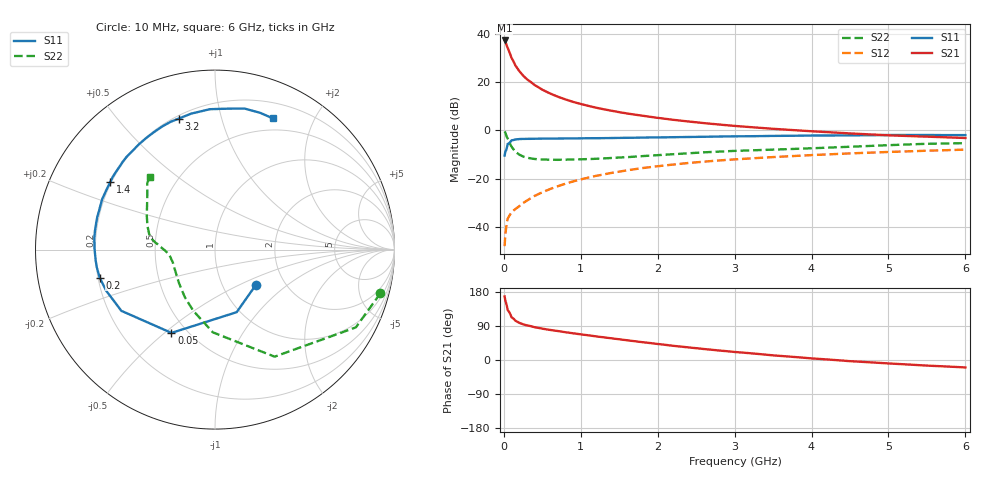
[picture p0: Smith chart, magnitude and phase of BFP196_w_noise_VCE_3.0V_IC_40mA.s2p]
! Infineon Technologies  Discrete & RF Semiconductors
! BFP196
! VCE =  3.0 V,  IC =  40 mA
! Common Emitter S-Parameters:  Jan 2017
# GHz  S  MA  R  50
!  f  S11  S21  S12  S22
! GHz  MAG  ANG  MAG  ANG  MAG  ANG  MAG  ANG
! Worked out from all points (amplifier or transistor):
!   77 points, 10 MHz to 6 GHz, reference 50 ohm
!   highest |S21| = 37.3 dB at 10 MHz (marker M1)
!   |S21| within 3 dB of that: start of sweep to 48.69 MHz
!   unconditionally stable (mu >= 1): 570.4 MHz to 2.507 GHz
!   at 130 MHz: K = 0.58, MSG = 30.7 dB, |S12| = -33.1 dB
!   at 2.2 GHz: K = 1.01, MAG = 8.6 dB, |S12| = -14.2 dB
!   at 6 GHz: K = 0.96, MSG = 2.4 dB, |S12| = -8.0 dB
!   lowest NFmin = 1.34 dB at 450 MHz
!   S11 on the Smith chart (normalised r, x): 10 MHz: 1.44, -0.62; 50 MHz: 0.41, -0.53; 200 MHz: 0.21, -0.12; 1.4 GHz: 0.20, +0.28; 3.2 GHz: 0.22, +0.74; 6 GHz: 0.36, +1.47
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0.01  0.3009 -40.6  72.9 167.6  0.004 80.8  0.9532 -14.8
0.02  0.369 -70.9  69.48 156.4  0.0072 71.9  0.8965 -28.9
0.05  0.5237 -117.6  50.99 131.8  0.0148 54.3  0.6826 -60.9
0.1  0.6234 -146.8  31.63 112.7  0.02 50.8  0.461 -91.5
0.15  0.6484 -159.4  22.18 103.8  0.0235 51.6  0.3623 -109.4
0.2  0.6612 -166.3  16.96 98.2  0.0269 54.5  0.3152 -122.0
0.25  0.6662 -171.6  13.68 94.2  0.0313 56.6  0.2878 -130.8
0.3  0.6676 -175.1  11.47 91.4  0.0351 59.0  0.2721 -138.0
0.4  0.6715 179.4  8.684 86.5  0.0439 62.1  0.2558 -147.5
0.5  0.6755 174.7  6.959 82.7  0.0522 64.4  0.2493 -154.2
0.6  0.677 171.1  5.827 79.4  0.0609 64.6  0.2475 -159.3
0.7  0.6782 167.8  4.999 76.5  0.0695 64.9  0.2455 -163.1
0.9  0.6813 161.4  3.897 70.5  0.0876 63.8  0.2497 -168.2
1.1  0.6888 155.6  3.216 65.1  0.1056 62.9  0.2548 -172.2
1.4  0.6945 147.1  2.555 57.2  0.1316 59.6  0.2684 -176.8
1.7  0.7046 139.0  2.123 49.6  0.1572 56.0  0.2859 179.9
2.1  0.7186 128.6  1.737 40.0  0.1885 50.5  0.314 175.7
3.1  0.7552 107.3  1.204 19.6  0.2564 37.1  0.3808 165.5
3.2  0.7575 105.4  1.171 17.9  0.2621 35.8  0.3852 164.2
4.1  0.7829 90.6  0.94 2.9  0.3128 24.9  0.4322 151.5
5.1  0.802 76.9  0.781 -10.2  0.3617 13.3  0.5008 138.8
6  0.7991 66.1  0.696 -19.6  0.3997 3.3  0.5437 132.0
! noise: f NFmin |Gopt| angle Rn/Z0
0.45  1.34  0.36  177  0.05
0.9  1.49  0.46  -167  0.07
1.9  2.31  0.68  -133  0.28
2.4  2.71  0.7  -120  0.62
